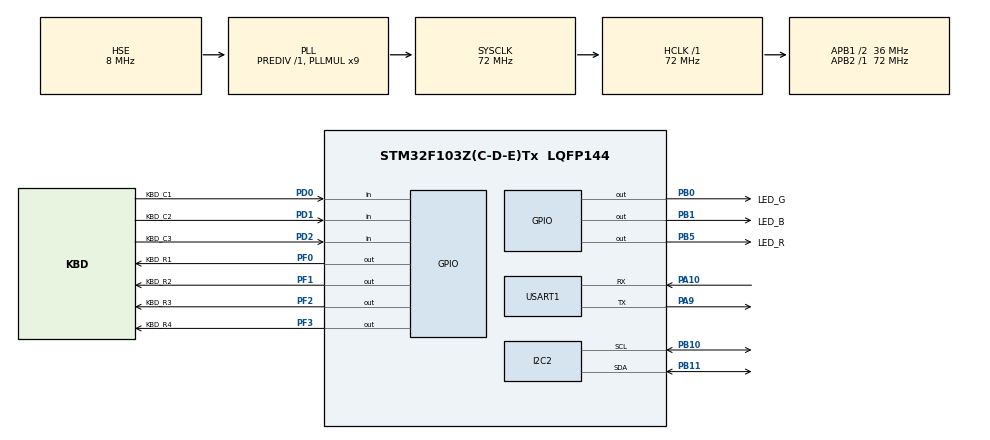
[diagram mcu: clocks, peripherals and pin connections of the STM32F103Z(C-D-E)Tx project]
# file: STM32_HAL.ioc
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Mcu.Family=STM32F1
Mcu.Name=STM32F103Z(C-D-E)Tx
Mcu.Package=LQFP144
NVIC.PriorityGroup=NVIC_PRIORITYGROUP_4
NVIC.TIM7_IRQn=true\:15\:0\:false\:false\:true\:false\:true\:true
NVIC.TimeBase=TIM7_IRQn
NVIC.TimeBaseIP=TIM7
NVIC.USART1_IRQn=true\:0\:0\:false\:false\:true\:true\:true\:true
OSC_IN.Mode=HSE-External-Oscillator
OSC_IN.Signal=RCC_OSC_IN
OSC_OUT.Mode=HSE-External-Oscillator
OSC_OUT.Signal=RCC_OSC_OUT
PA10.Mode=Asynchronous
PA10.Signal=USART1_RX
PA13.Mode=JTAG_4_pins
PA13.Signal=SYS_JTMS-SWDIO
PA14.Mode=JTAG_4_pins
PA14.Signal=SYS_JTCK-SWCLK
PA15.Mode=JTAG_4_pins
PA15.Signal=SYS_JTDI
PA9.Mode=Asynchronous
PA9.Signal=USART1_TX
PB0.GPIO_Label=LED_G
PB0.PinState=GPIO_PIN_SET
PB0.Signal=GPIO_Output
PB1.GPIO_Label=LED_B
PB1.PinState=GPIO_PIN_SET
PB1.Signal=GPIO_Output
PB10.Mode=I2C
PB10.Signal=I2C2_SCL
PB11.Mode=I2C
PB11.Signal=I2C2_SDA
PB3.Mode=JTAG_4_pins
PB3.Signal=SYS_JTDO-TRACESWO
PB5.GPIO_Label=LED_R
PB5.PinState=GPIO_PIN_SET
PB5.Signal=GPIO_Output
PD0.GPIO_Label=KBD_C1
PD0.GPIO_PuPd=GPIO_PULLUP
PD0.Signal=GPIO_Input
PD1.GPIO_Label=KBD_C2
PD1.GPIO_PuPd=GPIO_PULLUP
PD1.Signal=GPIO_Input
PD2.GPIO_Label=KBD_C3
PD2.GPIO_PuPd=GPIO_PULLUP
PD2.Signal=GPIO_Input
PF0.GPIO_Label=KBD_R1
PF0.Signal=GPIO_Output
PF1.GPIO_Label=KBD_R2
PF1.Signal=GPIO_Output
PF2.GPIO_Label=KBD_R3
PF2.Signal=GPIO_Output
PF3.GPIO_Label=KBD_R4
PF3.Signal=GPIO_Output
ProjectManager.HeapSize=0x200
ProjectManager.StackSize=0x400
ProjectManager.TargetToolchain=CMake
RCC.AHBFreq_Value=72000000
RCC.APB1CLKDivider=RCC_HCLK_DIV2
RCC.APB1Freq_Value=36000000
RCC.APB1TimFreq_Value=72000000
RCC.APB2Freq_Value=72000000
RCC.APB2TimFreq_Value=72000000
RCC.HCLKFreq_Value=72000000
RCC.PLLMUL=RCC_PLL_MUL9
RCC.PLLSourceVirtual=RCC_PLLSOURCE_HSE
RCC.SYSCLKFreq_VALUE=72000000
RCC.SYSCLKSource=RCC_SYSCLKSOURCE_PLLCLK
RCC.USBFreq_Value=72000000
TIM6.Prescaler=72-1
USART1.VirtualMode=VM_ASYNC
VP_SYS_VS_tim7.Mode=TIM7
VP_TIM6_VS_ClockSourceINT.Mode=Enable_Timer
board=custom

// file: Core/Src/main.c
/* USER CODE BEGIN Header */
/**
  ******************************************************************************
  * @file           : main.c
  * @brief          : Main program body
  ******************************************************************************
  * @attention
  *
  * Copyright (c) 2024 STMicroelectronics.
  * All rights reserved.
  *
  * This software is licensed under terms that can be found in the LICENSE file
  * in the root directory of this software component.
  * If no LICENSE file comes with this software, it is provided AS-IS.
  *
  ******************************************************************************
  */
/* USER CODE END Header */
#include "main.h"
#include "i2c.h"
#include "tim.h"
#include "usart.h"
#include "gpio.h"

/* USER CODE BEGIN Includes */

#include <stdio.h>
#include "FreeRTOS.h"
#include "task.h"
#include "queue.h"
#include "event_groups.h"

#include "keyboard.h"
#include "oled.h"

#include "Message.h"
#include "GUI.h"

/* USER CODE END Includes */

/* USER CODE BEGIN PD */
uint32_t lcdCount = 0;
/* USER CODE END PD */

/* USER CODE BEGIN PV */
extern UART_HandleTypeDef huart1;
QueueHandle_t kbdQueue;
EventGroupHandle_t kbdEventGroup;

TimerHandle_t kbdLoopHandler;

/* USER CODE END PV */

void SystemClock_Config(void);
/* USER CODE BEGIN PFP */

void vApplicationStackOverflowHook( TaskHandle_t xTask, char * pcTaskName)
{
  (void)xTask;
  printf("task: [%s] StackOverflow!\r\n", pcTaskName);
  while (1)
  {

  }

}

HAL_StatusTypeDef HAL_InitSysTick(uint32_t TickPriority)
{
  /* Configure the SysTick to have interrupt in 1ms time basis*/
  if (HAL_SYSTICK_Config(SystemCoreClock / (1000U / uwTickFreq)) > 0U)
  {
    return HAL_ERROR;
  }

  /* Configure the SysTick IRQ priority */
  if (TickPriority < (1UL << __NVIC_PRIO_BITS))
  {
    HAL_NVIC_SetPriority(SysTick_IRQn, TickPriority, 0U);
    uwTickPrio = TickPriority;
  }
  else
  {
    return HAL_ERROR;
  }

  /* Return function status */
  return HAL_OK;
}

static void TestTask(void *arg)
{
  (void)arg;

  OLED_NewFrame();
  OLED_ShowChinese(0, 0, "开始定时");
  OLED_ShowChinese(0, 16, "停止计时");
  OLED_ShowFrame();

  while (1)
  {
    vTaskDelay(100);
  }
}

static void KBD_Loop_Task(TimerHandle_t xTimer)
{
  (void)xTimer;
  KBD_Loop();
}

static void MainTask(void *arg)
{
  (void)arg;

  MSG msg;
  MSG_Init(&msg);
  while (1)
  {
    if (MQ_GetMessage(&msg) > 0) {
      if (msg.msgType == CM_KEYUP && msg.msgParam == VK_KEY2) {
        GUI_ReceiveCommand(GUI_COMMAND_UP);
      }
      else if (msg.msgType == CM_KEYUP && msg.msgParam == VK_KEY8) {
        GUI_ReceiveCommand(GUI_COMMAND_DOWN);
      }
      else if (msg.msgType == CM_KEYUP && msg.msgParam == VK_KEY4) {
        GUI_ReceiveCommand(GUI_COMMAND_LEFT);
      }
      else if (msg.msgType == CM_KEYUP && msg.msgParam == VK_KEY6) {
        GUI_ReceiveCommand(GUI_COMMAND_RIGHT);
      } else {
        printf("invalid command {%d %d %d}, ignore\r\n", msg.msgType, msg.msgParam, msg.msgCount);
      }
      GUI_Display();
    }
  }
}

/* USER CODE END PFP */

int main(void)
{

  /* MCU Configuration--------------------------------------------------------*/

  /* Reset of all peripherals, Initializes the Flash interface and the Systick. */
  HAL_Init();

  /* Configure the system clock */
  SystemClock_Config();

  /* Initialize all configured peripherals */
  MX_GPIO_Init();
  MX_USART1_UART_Init();
  MX_TIM6_Init();
  MX_I2C2_Init();
  /* USER CODE BEGIN 2 */

  // start systick
  HAL_InitSysTick(uwTickPrio);

  // OLED
  OLED_Init();

  // GUI
  GUI_Init();
  GUI_Display();

  // MQ
  MQ_Init();

  // 键盘定时任务
  kbdLoopHandler = xTimerCreate("KBD_LOOP", 20, pdTRUE, (void *)1, KBD_Loop_Task);
  xTimerStart(kbdLoopHandler, 0);

  // 主任务
  if (xTaskCreate(&MainTask, "MAIN_TASK", 8 * 1024, NULL, 5, NULL) != pdPASS) {
    printf("create MAIN task failed\r\n");
  } else {
    printf("create MAIN task success\r\n");
  }
  vTaskStartScheduler();

  /* USER CODE END 2 */

  /* Infinite loop */
  while (1)
  {

  }
}

void SystemClock_Config(void)
{
  RCC_OscInitTypeDef RCC_OscInitStruct = {0};
  RCC_ClkInitTypeDef RCC_ClkInitStruct = {0};

  /** Initializes the RCC Oscillators according to the specified parameters
  * in the RCC_OscInitTypeDef structure.
  */
  RCC_OscInitStruct.OscillatorType = RCC_OSCILLATORTYPE_HSE;
  RCC_OscInitStruct.HSEState = RCC_HSE_ON;
  RCC_OscInitStruct.HSEPredivValue = RCC_HSE_PREDIV_DIV1;
  RCC_OscInitStruct.HSIState = RCC_HSI_ON;
  RCC_OscInitStruct.PLL.PLLState = RCC_PLL_ON;
  RCC_OscInitStruct.PLL.PLLSource = RCC_PLLSOURCE_HSE;
  RCC_OscInitStruct.PLL.PLLMUL = RCC_PLL_MUL9;
  if (HAL_RCC_OscConfig(&RCC_OscInitStruct) != HAL_OK)
  {
    Error_Handler();
  }

  /** Initializes the CPU, AHB and APB buses clocks
  */
  RCC_ClkInitStruct.ClockType = RCC_CLOCKTYPE_HCLK|RCC_CLOCKTYPE_SYSCLK
                              |RCC_CLOCKTYPE_PCLK1|RCC_CLOCKTYPE_PCLK2;
  RCC_ClkInitStruct.SYSCLKSource = RCC_SYSCLKSOURCE_PLLCLK;
  RCC_ClkInitStruct.AHBCLKDivider = RCC_SYSCLK_DIV1;
  RCC_ClkInitStruct.APB1CLKDivider = RCC_HCLK_DIV2;
  RCC_ClkInitStruct.APB2CLKDivider = RCC_HCLK_DIV1;

  if (HAL_RCC_ClockConfig(&RCC_ClkInitStruct, FLASH_LATENCY_2) != HAL_OK)
  {
    Error_Handler();
  }
}

/* USER CODE BEGIN 4 */
int __io_putchar(int ch)
{
    HAL_UART_Transmit(&huart1, (uint8_t *)&ch, 1, HAL_MAX_DELAY);
    return 0;
}
/* USER CODE END 4 */

void HAL_TIM_PeriodElapsedCallback(TIM_HandleTypeDef *htim)
{
  if (htim->Instance == TIM7) {
    HAL_IncTick();
  }
}

void Error_Handler(void)
{
  __disable_irq();
  while (1)
  {
  }
}
